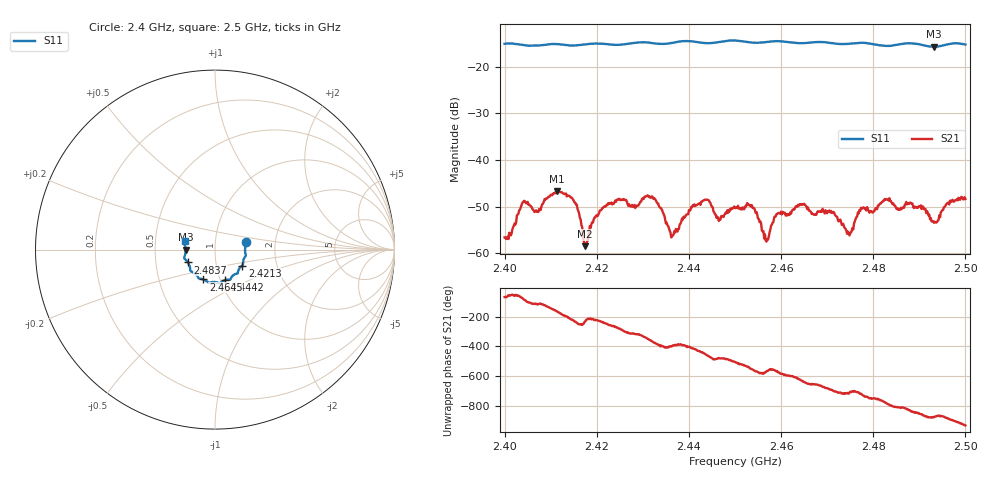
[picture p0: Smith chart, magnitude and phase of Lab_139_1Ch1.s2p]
# Hz S RI R 50
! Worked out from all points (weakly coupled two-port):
!   601 points, 2.4 GHz to 2.5 GHz, reference 50 ohm
!   highest |S21| = -46.74 dB at 2.4113 GHz (marker M1); lowest = -58.5 dB at 2.4175 GHz (marker M2)
!   lowest |S11| = -15.7 dB at 2.4932 GHz (marker M3), VSWR 1.39, Z = 36 - j0.0578 ohm
!   |S11| at or under -10 dB: start of sweep to end of sweep
!   S12 and S22 are empty: the file has one direction only
!   S11 on the Smith chart (normalised r, x): 2.4 GHz: 1.41, +0.12; 2.4213 GHz: 1.33, -0.25; 2.4442 GHz: 1.05, -0.37; 2.4645 GHz: 0.83, -0.29; 2.4837 GHz: 0.73, -0.11; 2.5 GHz: 0.71, +0.07
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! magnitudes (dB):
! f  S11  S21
! 2.4 GHz  -15.1  -56.6
! 2.404 GHz  -15.4  -49.1
! 2.4113 GHz  -15.2  -46.7
! 2.4152 GHz  -15.5  -49.1
! 2.4167 GHz  -15.3  -53.9
! 2.4175 GHz  -15.2  -58.5
! 2.4213 GHz  -15.1  -50.3
! 2.4333 GHz  -15.1  -49.4
! 2.4365 GHz  -14.9  -56.2
! 2.4442 GHz  -15.0  -48.6
! 2.4463 GHz  -14.7  -52.5
! 2.45 GHz  -14.4  -50.3
! 2.4538 GHz  -14.8  -50.3
! 2.4568 GHz  -14.7  -57.5
! 2.459 GHz  -14.5  -51.6
! 2.4645 GHz  -15.0  -49.6
! 2.4667 GHz  -14.8  -51.6
! 2.4748 GHz  -15.1  -56.2
! 2.4833 GHz  -15.6  -48.7
! 2.4837 GHz  -15.5  -48.8
! 2.4932 GHz  -15.7  -53.5
! 2.5 GHz  -15.3  -48.4
